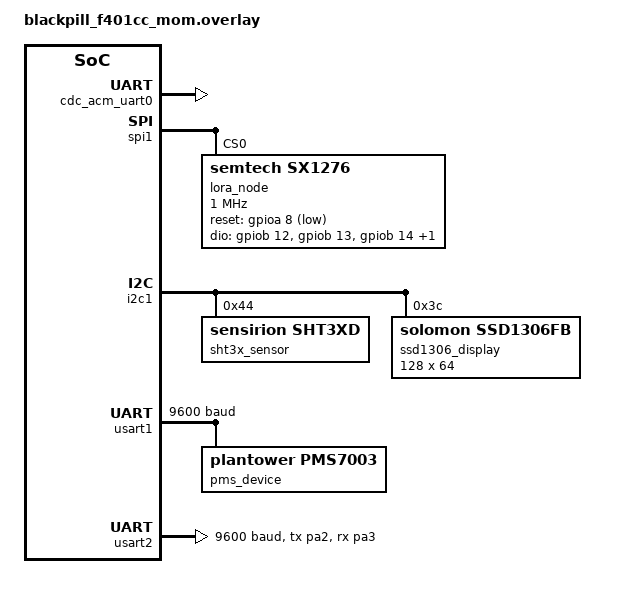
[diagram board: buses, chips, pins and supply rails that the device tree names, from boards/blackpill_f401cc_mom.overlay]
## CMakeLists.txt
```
# SPDX-License-Identifier: Apache-2.0

cmake_minimum_required(VERSION 3.20.0)

find_package(Zephyr REQUIRED HINTS $ENV{ZEPHYR_BASE})
project(lora_sensor)

FILE(GLOB app_sources src/*.c)
target_sources(app PRIVATE ${app_sources})

target_sources(app PRIVATE 
    src/drivers/sensors/pms.c
    src/drivers/sensors/cm1106.c
    src/drivers/sensors/sht3x.c
    src/drivers/sensors/scd4x.c
    src/drivers/sensors/bme280.c
    src/drivers/sensors/sps30.c

    src/drivers/cayenne_lpp.c
)
target_include_directories(app PRIVATE
    src/drivers/
    src/drivers/sensors/
    ./src/
)

add_subdirectory(src/lora)
target_link_libraries(app PRIVATE loramac)
```

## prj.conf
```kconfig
CONFIG_MAIN_STACK_SIZE=4096
CONFIG_SYSTEM_WORKQUEUE_STACK_SIZE=16384

CONFIG_HWINFO=y

CONFIG_LORA=y
CONFIG_LORA_LOG_LEVEL_INF=y
# CONFIG_LORAWAN=y
# CONFIG_LORAMAC_REGION_EU433=y
# CONFIG_LORAWAN_NVM_SETTINGS=y
# CONFIG_LORAWAN_SYSTEM_MAX_RX_ERROR=100

# CONFIG_LORAWAN_LOG_LEVEL_DBG=n
# CONFIG_LORAWAN_SERVICES=y
# CONFIG_LORAWAN_SERVICES_LOG_LEVEL_DBG=y
# CONFIG_LORAWAN_APP_CLOCK_SYNC=y
# CONFIG_LORAWAN_REMOTE_MULTICAST=y
# CONFIG_LORAWAN_FRAG_TRANSPORT=y
# CONFIG_LORAWAN_FRAG_TRANSPORT_MIN_FRAG_SIZE=216
# CONFIG_LORAWAN_FRAG_TRANSPORT_MAX_FRAG_SIZE=216
# CONFIG_LORAWAN_FRAG_TRANSPORT_DECODER_LOWMEM=y

CONFIG_SERIAL=y

CONFIG_UART_CONSOLE=y
CONFIG_UART_INTERRUPT_DRIVEN=y

CONFIG_CONSOLE=y
CONFIG_STDOUT_CONSOLE=y

CONFIG_LOG=y
CONFIG_LOG_PRINTK=y
CONFIG_LOG_MODE_IMMEDIATE=y

# CONFIG_PM=y
# CONFIG_PM_DEVICE=y
# CONFIG_PM_DEVICE_RUNTIME=y

CONFIG_SENSOR=y

CONFIG_NVS=y
CONFIG_SETTINGS=y
CONFIG_FLASH=y
CONFIG_FLASH_MAP=y
CONFIG_FLASH_PAGE_LAYOUT=y
CONFIG_STREAM_FLASH=y
CONFIG_IMG_MANAGER=y

CONFIG_LED=n
CONFIG_LED_LOG_LEVEL_DBG=y

CONFIG_WATCHDOG=y
CONFIG_WDT_DISABLE_AT_BOOT=y

CONFIG_I2C=y
CONFIG_I2C_SHELL=y

CONFIG_SHELL=y

CONFIG_REGULATOR=y

# CONFIG_LVGL=y
# CONFIG_LV_USE_LABEL=y
# CONFIG_LV_FONT_MONTSERRAT_26=y
# CONFIG_LV_FONT_MONTSERRAT_22=y
# CONFIG_LV_FONT_SOURCE_HAN_SANS_SC_16_CJK=y
# CONFIG_LV_COLOR_16_SWAP=y
# CONFIG_LV_Z_MEM_POOL_SIZE=32384
# CONFIG_LV_Z_SHELL=y
# CONFIG_DISPLAY=y
# CONFIG_DISPLAY_LOG_LEVEL_ERR=y
# CONFIG_INPUT=y

# CONFIG_DISPLAY=y
# CONFIG_CFB_LOG_LEVEL_DBG=y
# CONFIG_CHARACTER_FRAMEBUFFER=y
# CONFIG_CBPRINTF_FP_SUPPORT=y

CONFIG_LED=y
```

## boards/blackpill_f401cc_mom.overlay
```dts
/ {
    chosen {
		zephyr,shell-uart = &cdc_acm_uart0;
        zephyr,console = &cdc_acm_uart0;
        zephyr,code-partition = &slot0_partition;
	};

};

&zephyr_udc0 {
	cdc_acm_uart0: cdc_acm_uart0 {
		compatible = "zephyr,cdc-acm-uart";
	};
};

&spi1 {
    lora: lora@0 {
        compatible = "semtech,sx1276";
        reg = <0>;
        reset-gpios = <&gpioa 8 GPIO_ACTIVE_LOW>;
        dio-gpios = 
            <&gpiob 12 (GPIO_PULL_DOWN | GPIO_ACTIVE_HIGH)>,
            <&gpiob 13 (GPIO_PULL_DOWN | GPIO_ACTIVE_HIGH)>,
            <&gpiob 14 (GPIO_PULL_DOWN | GPIO_ACTIVE_HIGH)>,
            <&gpiob 15 (GPIO_PULL_DOWN | GPIO_ACTIVE_HIGH)>;
        spi-max-frequency = <1000000>;
        power-amplifier-output = "pa-boost";
        label = "lora_node";
    };
};

&i2c1 {
	sht3x: sht3xd@44 {
		compatible = "sensirion,sht3xd";
		reg = <0x44>;
        label = "sht3x_sensor";
	};
    ssd1306_ssd1306_128x64: ssd1306@3c {
        compatible = "solomon,ssd1306fb";
        reg = <0x3c>;
        width = <128>;
        height = <64>;
        segment-offset = <0>;
        page-offset = <0>;
        display-offset = <0>;
        multiplex-ratio = <63>;
        segment-remap;
        com-invdir;
        prechargep = <0x22>;
        label = "ssd1306_display";
	};
};

&usart1 {
	current-speed = <9600>;
    pmsensor: pmsensor {
        compatible = "plantower,pms7003";
        label = "pms_device";
    };
};

&usart2 {
    current-speed = <9600>;
    status = "okay";
    pinctrl-0 = <&usart2_tx_pa2 &usart2_rx_pa3>;
	pinctrl-names = "default";
    label = "cm1106_co2";
};
```

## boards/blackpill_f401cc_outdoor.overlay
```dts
/ {
    chosen {
		zephyr,shell-uart = &cdc_acm_uart0;
        zephyr,console = &cdc_acm_uart0;
	};
    aliases {

    };
};

&zephyr_udc0 {
	cdc_acm_uart0: cdc_acm_uart0 {
		compatible = "zephyr,cdc-acm-uart";
	};
};

&spi1 {
    lora: lora@0 {
        compatible = "semtech,sx1276";
        reg = <0>;
        reset-gpios = <&gpioa 8 GPIO_ACTIVE_LOW>;
        dio-gpios = 
            <&gpiob 13 (GPIO_PULL_DOWN | GPIO_ACTIVE_HIGH)>,
            <&gpiob 12 (GPIO_PULL_DOWN | GPIO_ACTIVE_HIGH)>,
            <&gpiob 15 (GPIO_PULL_DOWN | GPIO_ACTIVE_HIGH)>;
        spi-max-frequency = <1000000>;
        power-amplifier-output = "pa-boost";
        label = "lora_node";
    };
};

&i2c1 {
    pinctrl-0 = <&i2c1_scl_pb6 &i2c1_sda_pb7>;
	sht3x: sht3xd@44 {
		compatible = "sensirion,sht3xd";
		reg = <0x44>;
        label = "sht3x_sensor";
	};
};

&usart2 {
    current-speed = <9600>;
    status = "okay";
    pinctrl-0 = <&usart2_tx_pa2 &usart2_rx_pa3>;
	pinctrl-names = "default";
    pmsensor: pmsensor {
        compatible = "plantower,pms7003";
        label = "pms_device";
    };
};
```

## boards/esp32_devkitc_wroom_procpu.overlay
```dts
/ {
	chosen {
		zephyr,display = &st7735;
    };

	aliases {
		cm1106-uart = &uart1;
        pms-uart = &uart2;
        lora-radio = &lora;
		lcd-display = &st7735;
	};

	mipi_dbi_st7735r_ada_160x128 {
		compatible = "zephyr,mipi-dbi-spi";
		spi-dev = <&spi2>;
		dc-gpios = <&gpio0 18 GPIO_ACTIVE_HIGH>;	/* D9 */
		reset-gpios = <&gpio0 19 GPIO_ACTIVE_LOW>;	/* D8 */
		#address-cells = <1>;
		#size-cells = <0>;
		
		st7735: st7735r@0 {
			compatible = "sitronix,st7735r";
			mipi-max-frequency = <DT_FREQ_M(1)>;
			mipi-mode = "MIPI_DBI_MODE_SPI_4WIRE";
			reg = <0>;
			width = <128>;
			height = <160>;
			x-offset = <0>;
			y-offset = <0>;
			madctl = <0xc0>;
			colmod = <0x55>;
			vmctr1 = <0x0e>;
			pwctr1 = [a2 02 84];
			pwctr2 = [c5];
			pwctr3 = [0a 00];
			pwctr4 = [8a 2a];
			pwctr5 = [8a ee];
			frmctr1 = [01 2c 2d];
			frmctr2 = [01 2c 2d];
			frmctr3 = [01 2c 2d 01 2c 2d];
			gamctrp1 = [02 1c 07 12 37 32 29 2d 29 25 2b 39 00 01 03 10];
			gamctrn1 = [03 1d 07 06 2e 2c 29 2d 2e 2e 37 3f 00 00 02 10];
		};
	};
};

&uart1 {
    status = "okay";
	current-speed = <9600>;
	pinctrl-0 = <&uart1_default>;
	pinctrl-names = "default";
};

&uart2 {
    status = "okay";
	current-speed = <9600>;
	pinctrl-0 = <&uart2_default>;
	pinctrl-names = "default";
};

&spi2 {
	clock-frequency = <DT_FREQ_M(8)>;
	#address-cells = <1>;
	#size-cells = <0>;
	status = "okay";
	pinctrl-0 = <&spim2_default>;
	pinctrl-names = "default";
    cs-gpios = <&gpio0 4  GPIO_ACTIVE_LOW>,
			   <&gpio0 23 GPIO_ACTIVE_LOW>;

	lora: lora@1 {
		compatible = "semtech,sx1276";
		reg = <1>;
		spi-max-frequency = <DT_FREQ_M(8)>;
		reset-gpios = <&gpio0 21 GPIO_ACTIVE_LOW>;
		dio-gpios = <&gpio0 22 (GPIO_PULL_DOWN | GPIO_ACTIVE_HIGH)>;
        power-amplifier-output = "pa-boost";
	};

};

&pinctrl {
	uart1_default: uart1_default {
		group1 {
			pinmux = <UART1_TX_GPIO17>;
		};
		group2 {
			pinmux = <UART1_RX_GPIO16>;
			bias-pull-up;
		};
	};

	uart2_default: uart2_default {
		group1 {
			pinmux = <UART2_TX_GPIO14>;
		};
		group2 {
			pinmux = <UART2_RX_GPIO13>;
			bias-pull-up;
		};
	};

    spim2_default: spim2_default {
		group1 {
			pinmux = <SPIM2_MISO_GPIO27>,
				 <SPIM2_SCLK_GPIO26>;

		};
		group2 {
			pinmux = <SPIM2_MOSI_GPIO25>;
			output-low;
		};
	};
};
```

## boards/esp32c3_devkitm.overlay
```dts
/ {
	chosen {
		zephyr,console = &usb_serial;
		zephyr,shell-uart = &usb_serial;
		zephyr,display = &ssd1306_ssd1306_128x64;
	};

	aliases {
        scd4x = &scd40;
        display = &ssd1306_ssd1306_128x64;
        bme280 = &bme280;
		pms-uart = &uart0;
	};

    sensor_regulator: sensor_regulator {
        compatible = "regulator-fixed";
        regulator-name = "sensor_regulator";
        enable-gpios = <&gpio0 6 GPIO_ACTIVE_HIGH>;
        regulator-boot-on;
    };
};

&usb_serial {
	/* requires resoldering of resistors on the board */
	status = "okay";
};

&uart0 {
	status = "okay";
	current-speed = <9600>;
	pinctrl-0 = <&uart0_default>;
	pinctrl-names = "default";
};

&uart0_default {
	group1 {
		pinmux = <UART0_TX_GPIO1>;
		output-high;
	};
	group2 {
		pinmux = <UART0_RX_GPIO0>;
	};
};

&i2c0 {
	status = "okay";
	clock-frequency = <I2C_BITRATE_FAST>;

    ssd1306_ssd1306_128x64: ssd1306@3c {
		ready-time-ms = <500>;
		status = "okay";
		compatible = "solomon,ssd1306fb";
		reg = <0x3c>;
		width = <128>;
		height = <64>;
		segment-offset = <0>;
		page-offset = <0>;
		display-offset = <0>;
		multiplex-ratio = <63>;
		segment-remap;
		com-invdir;
		prechargep = <0x22>;
	};

	scd40: scd40@62 {
        status = "okay";
        reg = <0x62>;
		mode = <1>;
        compatible = "sensirion,scd41";
    };

    bme280: bme280@76 {
		compatible = "bosch,bme280";
		reg = <0x76>;
	};
};

&i2c0_default {
    group1 {
        pinmux = <I2C0_SDA_GPIO4>,
                <I2C0_SCL_GPIO5>;
        drive-open-drain;
        output-high;
    };
};
```

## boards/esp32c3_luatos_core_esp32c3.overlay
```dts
/ {
    chosen {
		zephyr,code-partition = &slot0_partition;
    };

    aliases {
        lora0 = &sx1262;
		systemled = &led0;
		sht3x = &sht3x;
	};

	leds {
		compatible = "gpio-leds";

		led0: led_2 {
			gpios = <&gpio0 12 GPIO_ACTIVE_HIGH>;
			label = "White LED";
		};

		led1: led_1 {
			gpios = <&gpio0 13 GPIO_ACTIVE_HIGH>;
			label = "Green LED";
		};
	};
};

&wdt1 {
	status = "okay";                     /* in zephyr/dts/riscv/espressif/esp32c3/esp32c3_common.dtsi:303 */
};

&i2c0_default {
	group1 {
		pinmux = <I2C0_SDA_GPIO2>,
				<I2C0_SCL_GPIO0>;
		bias-pull-up;
		drive-open-drain;
		output-high;
	};
};

&i2c0 {
	status = "okay";
	clock-frequency = <I2C_BITRATE_STANDARD>;
	pinctrl-0 = <&i2c0_default>;
	pinctrl-names = "default";

	sht3x: sht3xd@44 {
		compatible = "sensirion,sht3xd";
		reg = <0x44>;
	};
};

&uart0 {
	status = "okay";
	current-speed = <115200>;
	pinctrl-0 = <&uart0_default>;
	pinctrl-names = "default";
};

&spim2_default {
    group1 {
        pinmux = <SPIM2_MISO_GPIO6>,
            <SPIM2_SCLK_GPIO10>;
    };
    group2 {
        pinmux = <SPIM2_MOSI_GPIO7>;
        output-low;
    };
};

&spi2 {
	#address-cells = <1>;
	#size-cells = <0>;
	status = "okay";
	pinctrl-0 = <&spim2_default>;
	pinctrl-names = "default";
    cs-gpios = <&gpio0 8 GPIO_ACTIVE_LOW>;
    clock-frequency = <DT_FREQ_M(8)>;

	sx1262: sx1262@0 {
		compatible = "semtech,sx1262";
		reg = <0>;
		spi-max-frequency = <DT_FREQ_M(8)>;
		label = "SX1262";
		reset-gpios = <&gpio0 5 GPIO_ACTIVE_LOW>;
		busy-gpios = <&gpio0 4 GPIO_ACTIVE_HIGH>;
		dio1-gpios = <&gpio0 3 GPIO_ACTIVE_HIGH>;
		dio2-tx-enable;
	};
};

&flash0 {
	partitions {
		compatible = "fixed-partitions";
		#address-cells = <1>;
		#size-cells = <1>;

		boot_partition: partition@0 {
			label = "mcuboot";
			reg = <0x0 DT_SIZE_K(64)>;
		};

		sys_partition: partition@10000 {
			label = "sys";
			reg = <0x10000 DT_SIZE_K(64)>;
		};

		slot0_partition: partition@20000 {
			label = "image-0";
			reg = <0x20000 DT_SIZE_K(256)>;
		};

		slot1_partition: partition@1e0000 {
			label = "image-1";
			reg = <0x1E0000 DT_SIZE_K(256)>;
		};

		slot0_lpcore_partition: partition@3a0000 {
			label = "image-0-lpcore";
			reg = <0x3A0000 DT_SIZE_K(32)>;
		};

		slot1_lpcore_partition: partition@3a8000 {
			label = "image-1-lpcore";
			reg = <0x3A8000 DT_SIZE_K(32)>;
		};

		storage_partition: partition@3b0000 {
			label = "storage";
			reg = <0x3B0000 DT_SIZE_K(192)>;
		};

		scratch_partition: partition@3e0000 {
			label = "image-scratch";
			reg = <0x3E0000 DT_SIZE_K(124)>;
		};

		coredump_partition: partition@3ff000 {
			label = "coredump";
			reg = <0x3FF000 DT_SIZE_K(4)>;
		};
	};
};
```

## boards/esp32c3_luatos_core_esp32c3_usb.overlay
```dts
/ {
    choose {
    };

    aliases {
        pms-uart = &uart0;
        lora0 = &lora;
		systemled = &led0;
		scd4x = &scd40;
		bme280 = &bme280;
	};

	leds {
		compatible = "gpio-leds";

		led0: led_2 {
			gpios = <&gpio0 12 GPIO_ACTIVE_HIGH>;
			label = "White LED";
		};

		led1: led_1 {
			gpios = <&gpio0 13 GPIO_ACTIVE_HIGH>;
			label = "Green LED";
		};
	};
};

&i2c0_default {
	group1 {
		pinmux = <I2C0_SDA_GPIO1>,
				<I2C0_SCL_GPIO0>;
		bias-pull-up;
		drive-open-drain;
		output-high;
	};
};

&i2c0 {
	status = "okay";
	clock-frequency = <I2C_BITRATE_STANDARD>;
	pinctrl-0 = <&i2c0_default>;
	pinctrl-names = "default";

	scd40: scd40@62 {
        status = "okay";
        reg = <0x62>;
		mode = <1>;
        compatible = "sensirion,scd41";
    };

	bme280: bme280@76 {
		compatible = "bosch,bme280";
		reg = <0x76>;
	};
};

&uart0 {
	status = "okay";
	current-speed = <9600>;
	pinctrl-0 = <&uart0_default>;
	pinctrl-names = "default";
};

&uart0_default {
		group1 {
			pinmux = <UART0_TX_GPIO5>;
			output-high;
		};
		group2 {
			pinmux = <UART0_RX_GPIO4>;
			bias-pull-up;
		};
};

&spim2_default {
    group1 {
        pinmux = <SPIM2_MISO_GPIO3>,
            <SPIM2_SCLK_GPIO7>;
    };
    group2 {
        pinmux = <SPIM2_MOSI_GPIO10>;
        output-low;
    };
};

&spi2 {
	#address-cells = <1>;
	#size-cells = <0>;
	status = "okay";
	pinctrl-0 = <&spim2_default>;
	pinctrl-names = "default";
    cs-gpios = <&gpio0 6 GPIO_ACTIVE_LOW>;
    clock-frequency = <DT_FREQ_M(1)>;

    lora: lora@0 {
		compatible = "semtech,sx1276";
		reg = <0x0>;
		spi-max-frequency = <DT_FREQ_M(2)>;
		reset-gpios = <&gpio0 11 GPIO_ACTIVE_LOW>;
		dio-gpios = <&gpio0 2 (GPIO_PULL_DOWN | GPIO_ACTIVE_HIGH)>;
        power-amplifier-output = "pa-boost";
	};
};
```

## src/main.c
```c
#include <zephyr/kernel.h>
#include <zephyr/logging/log.h>
#include <zephyr/drivers/hwinfo.h>
#include "sps30.h"
#include "scd4x.h"
#include "pms.h"
#include "sht3x.h"
#include "scd4x.h"
#include "lora.h"
#include "cayenne_lpp.h"

LOG_MODULE_REGISTER(MAIN, LOG_LEVEL_DBG);

LoRaConfig_t config;
LoRadata_t lora_data;

cayenne_lpp_t lpp = {0};
static float pm1, pm25, pm10;
sps30data_t sps30_data;
scd4x_data_t scd4x_data;
pms_data_t pms_data;
sht3x_data_t sht3x_data;

int main(void)
{
	lora_init();
	if (hwinfo_get_device_eui64(config.deveui) == 0)
	{
		memset(config.appkey, 0, 16);
		memcpy(config.appkey, config.deveui, 8);
	}
	else
	{
		hwinfo_get_device_id(config.appkey, 16);
		memcpy(config.deveui, config.appkey, 8);
	}
	config.join_dr = 3;
	config.adr = 1;
	LOG_HEXDUMP_DBG(config.deveui, 8, "DEVEUI");
	LOG_HEXDUMP_DBG(config.appkey, 16, "APPKEY");

	while (lora_join_network(&config) != 0)
	{
		k_msleep(6000);
	}

	while (1)
	{
		k_msleep(60 * 1000);

		cayenne_lpp_reset(&lpp);
		if (0 == sps30_get_data(&sps30_data))
		{
			pm1 = sps30_data.pm1 / 100.0f;
			pm25 = sps30_data.pm25 / 100.0f;
			pm10 = sps30_data.pm10 / 100.0f;
			cayenne_lpp_add_analog_output(&lpp, 0, pm1);
			cayenne_lpp_add_analog_output(&lpp, 1, pm25);
			cayenne_lpp_add_analog_output(&lpp, 2, pm10);
		}

		if (0 == pms_get(&pms_data))
		{
			pm1 = pms_data.pm1 / 100.0f;
			pm25 = pms_data.pm25 / 100.0f;
			pm10 = pms_data.pm10 / 100.0f;
			cayenne_lpp_add_analog_output(&lpp, 0, pm1);
			cayenne_lpp_add_analog_output(&lpp, 1, pm25);
			cayenne_lpp_add_analog_output(&lpp, 2, pm10);
		}

		if (get_scd4x_data(&scd4x_data) == 0)
		{
			cayenne_lpp_add_analog_output(&lpp, 3, scd4x_data.co2 / 100.0f);
			cayenne_lpp_add_temperature(&lpp, 0, scd4x_data.temp);
			cayenne_lpp_add_relative_humidity(&lpp, 0, scd4x_data.hum);
		}

		if (sht3x_get_temp_hum(&sht3x_data) == 0)
		{
			cayenne_lpp_add_temperature(&lpp, 0, sht3x_data.temp);
			cayenne_lpp_add_relative_humidity(&lpp, 0, sht3x_data.hum);
		}

		lora_data.data_len = lpp.cursor;
		lora_data.port = 1;
		lora_data.is_confirmed = 0;
		memcpy(lora_data.data, lpp.buffer, lpp.cursor);
		lora_send_data(&lora_data);
		k_msleep(6000);
		if (0 == lora_get_downlink(&lora_data))
		{
			LOG_INF("Process downlink");
			if (lora_data.port == 62 && lora_data.data_len == 4)
			{
				LOG_DBG("Calibrate SCD4x");
				float actual_temp;
				memcpy(&actual_temp, lora_data.data, 4);
				LOG_DBG("Actual Temp: %i", (int)(actual_temp * 10));
				set_scd4x_offset(actual_temp);
			}
		}
	}

	return 0;
}
```

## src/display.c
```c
#include "display.h"
#include "scd4x.h"
#include "sps30.h"
#include "pms.h"
#include <stdio.h>

#include <zephyr/device.h>
#include <zephyr/devicetree.h>
#include <zephyr/drivers/display.h>
#include <zephyr/kernel.h>
#include <zephyr/logging/log.h>
#include <zephyr/display/cfb.h>
#include <zephyr/drivers/led.h>
#include <zephyr/input/input.h>

LOG_MODULE_REGISTER(display, LOG_LEVEL_DBG);

#if defined(CONFIG_LVGL)

#include <lvgl.h>

const struct led_dt_spec displayled_spec = LED_DT_SPEC_GET(DT_NODELABEL(displayled));
lv_timer_t *led_timer;

lv_obj_t *tile_view;
lv_obj_t *sensor_tile;
lv_obj_t *setting_tile;

lv_obj_t *co2_container;
lv_obj_t *co2_label;
lv_obj_t *pm_container;
lv_obj_t *pm_label;
lv_obj_t *temp_container;
lv_obj_t *temp_label;
lv_obj_t *hum_container;
lv_obj_t *hum_label;

lv_obj_t *wifi_container;
lv_obj_t *wifi_label;

lv_obj_t *lora_container;
lv_obj_t *lora_label;

static scd4x_data_t scd4x_data;
static sps30data_t sps30_data;

void lv_timer(lv_timer_t *timer)
{
	char str[50];
	lv_color_t color = lv_color_hex(0x44ce1b);

	if (0 == get_scd4x_data(&scd4x_data))
	{
		sprintf(str, "CO2\n%i", scd4x_data.co2);
		lv_label_set_text(co2_label, str);
		if (scd4x_data.co2 <= 800)
		{
			color = lv_color_hex(0x44ce1b);
		}
		if (scd4x_data.co2 > 800 && scd4x_data.co2 <= 1200)
		{
			color = lv_color_hex(0xf7e379);
		}
		if (scd4x_data.co2 > 1200)
		{
			color = lv_color_hex(0xe51f1f);
		}
		lv_obj_set_style_bg_color(co2_container, color, LV_PART_MAIN);

		if (scd4x_data.co2 != 0)
		{
			// lv_chart_set_next_value(co2_chart, co2_ser, (int32_t)scd4x_data.co2);

			sprintf(str, "%i.%i°C", (int)scd4x_data.temp, (int)((scd4x_data.temp - (int)scd4x_data.temp) * 10));
			lv_label_set_text(temp_label, str);

			sprintf(str, "%i.%i%%", (int)scd4x_data.hum, (int)((scd4x_data.hum - (int)scd4x_data.hum) * 10));
			lv_label_set_text(hum_label, str);
		}
	}

	if (0 == sps30_get_data(&sps30_data))
	{
		sprintf(str, "PM2.5\n%i\n%i\n%i", (int)sps30_data.pm1, (int)sps30_data.pm25, (int)sps30_data.pm10);
		lv_label_set_text(pm_label, str);

		if (sps30_data.pm25 <= 15)
		{
			color = lv_color_hex(0x44ce1b);
		}
		if (sps30_data.pm25 > 15 && sps30_data.pm25 <= 35)
		{
			color = lv_color_hex(0xf7e379);
		}
		if (sps30_data.pm25 > 35)
		{
			color = lv_color_hex(0xe51f1f);
		}
		lv_obj_set_style_bg_color(pm_container, color, LV_PART_MAIN);
	}
}

void lv_sensor_page()
{
	sensor_tile = lv_tileview_add_tile(tile_view, 0, 0, LV_DIR_RIGHT);

	static lv_style_t sensor_title_style;
	lv_style_init(&sensor_title_style);
	lv_style_set_width(&sensor_title_style, lv_pct(50));
	lv_style_set_height(&sensor_title_style, lv_pct(50));
	lv_style_set_text_font(&sensor_title_style, &lv_font_montserrat_26);

	co2_container = lv_obj_create(sensor_tile);
	lv_obj_add_style(co2_container, &sensor_title_style, 0);
	lv_obj_set_align(co2_container, LV_ALIGN_TOP_LEFT);
	lv_obj_set_style_pad_all(co2_container, 0, LV_STATE_DEFAULT);

	co2_label = lv_label_create(co2_container);
	lv_obj_set_align(co2_label, LV_ALIGN_CENTER);
	lv_label_set_text(co2_label, "CO2\n1233");

	pm_container = lv_obj_create(sensor_tile);
	lv_obj_add_style(pm_container, &sensor_title_style, 0);
	lv_obj_set_align(pm_container, LV_ALIGN_TOP_RIGHT);
	pm_label = lv_label_create(pm_container);
	lv_obj_set_align(pm_label, LV_ALIGN_CENTER);

	static lv_style_t pm_label_style;
	lv_style_init(&pm_label_style);
	lv_style_set_text_font(&pm_label_style, &lv_font_montserrat_22);
	// lv_style_set_text_align(&pm_label_style,LV_TEXT_ALIGN_CENTER);
	lv_obj_add_style(pm_label, &pm_label_style, 0);

	temp_container = lv_obj_create(sensor_tile);
	lv_obj_add_style(temp_container, &sensor_title_style, 0);
	lv_obj_set_align(temp_container, LV_ALIGN_BOTTOM_LEFT);
	temp_label = lv_label_create(temp_container);
	lv_obj_set_align(temp_label, LV_ALIGN_CENTER);
	// lv_label_set_text(temp_label, "Loading");

	hum_container = lv_obj_create(sensor_tile);
	lv_obj_add_style(hum_container, &sensor_title_style, 0);
	lv_obj_set_align(hum_container, LV_ALIGN_BOTTOM_RIGHT);
	hum_label = lv_label_create(hum_container);
	lv_obj_set_align(hum_label, LV_ALIGN_CENTER);
	// lv_label_set_text(hum_label, "Loading");
}

void turn_off_led(lv_timer_t *timer)
{
	led_off_dt(&displayled_spec);
}

void turn_on_led(struct input_event *evt, void *)
{
	led_on_dt(&displayled_spec);
	lv_timer_reset(led_timer);
}

void display_thread(void *, void *, void *)
{
	const struct device *display_dev = DEVICE_DT_GET(DT_CHOSEN(zephyr_display));

	if (!device_is_ready(display_dev))
	{
		LOG_ERR("Device not ready, aborting test");
		return;
	}

	display_blanking_off(display_dev);

	tile_view = lv_tileview_create(lv_screen_active());
	lv_sensor_page();

	lv_timer_t *timer = lv_timer_create(lv_timer, 5000, NULL);

	led_on_dt(&displayled_spec);
	led_timer = lv_timer_create(turn_off_led, 15 * 60 * 1000, NULL);
	INPUT_CALLBACK_DEFINE(NULL, turn_on_led, NULL);

	while (1)
	{
		lv_timer_handler();
		k_sleep(K_MSEC(5));
	}
}

K_THREAD_DEFINE(display_thread_tid, 8912,
				display_thread, NULL, NULL, NULL,
				5, 0, 0);

#endif

#if defined(CONFIG_CHARACTER_FRAMEBUFFER)
void cfb_thread(void *, void *, void *)
{
	const struct device *dev;
	dev = DEVICE_DT_GET(DT_CHOSEN(zephyr_display));
	if (!device_is_ready(dev))
	{
		printf("Device %s not ready\n", dev->name);
		return;
	}

	if (display_set_pixel_format(dev, PIXEL_FORMAT_MONO10) != 0)
	{
		if (display_set_pixel_format(dev, PIXEL_FORMAT_MONO01) != 0)
		{
			printf("Failed to set required pixel format");
			return;
		}
	}
	printf("Initialized %s\n", dev->name);
	if (cfb_framebuffer_init(dev))
	{
		printf("Framebuffer initialization failed!\n");
		return;
	}

	cfb_framebuffer_clear(dev, true);
	display_blanking_off(dev);
	cfb_framebuffer_invert(dev);
	cfb_set_kerning(dev, 1);

	int font_number = cfb_get_numof_fonts(dev);

	scd4x_data_t scd4x_data;
	pms_data_t pms_data;
	char str[100];
	while (1)
	{
		cfb_framebuffer_clear(dev, true);
		if (0 == get_scd4x_data(&scd4x_data))
		{
			sprintf(str, "%i", scd4x_data.co2);
			cfb_framebuffer_set_font(dev, font_number - 1);
			cfb_draw_text(dev, str, 0, 0);

			sprintf(str, "%.1fC", scd4x_data.temp);
			cfb_framebuffer_set_font(dev, font_number - 2);
			cfb_draw_text(dev, str, 0, 25);

			sprintf(str, "%.1f%%", scd4x_data.hum);
			cfb_framebuffer_set_font(dev, font_number - 2);
			cfb_draw_text(dev, str, 0, 45);
		}
		if (0 == pms_get(&pms_data))
		{
			sprintf(str, "%i", pms_data.pm1);
			cfb_framebuffer_set_font(dev, font_number - 2);
			cfb_draw_text(dev, str, 90, 0);

			sprintf(str, "%i", pms_data.pm25);
			cfb_framebuffer_set_font(dev, font_number - 2);
			cfb_draw_text(dev, str, 90, 22);

			sprintf(str, "%i", pms_data.pm10);
			cfb_framebuffer_set_font(dev, font_number - 2);
			cfb_draw_text(dev, str, 90, 44);
		}

		cfb_framebuffer_finalize(dev);
		k_msleep(5000);
	}
}

K_THREAD_DEFINE(cfb_thread_tid, 8912,
				cfb_thread, NULL, NULL, NULL,
				5, 0, 0);

#endif
```

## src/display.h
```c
#ifndef __DISPLAY__H
#define __DISPLAY__H




#endif
```

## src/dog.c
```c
#include "dog.h"

#include <zephyr/kernel.h>
#include <zephyr/device.h>
#include <zephyr/drivers/watchdog.h>
#include <zephyr/sys/printk.h>
#include <stdbool.h>

#define WDT_FEED_TRIES 5

static uint8_t dog_run = 0;

void dog_stop()
{
    dog_run = 1;
}

void dog_thread(void *, void *, void *)
{
    int err;
    int wdt_channel_id;
    const struct device *const wdt = DEVICE_DT_GET(DT_ALIAS(watchdog0));

    printk("Watchdog sample application\n");

    if (!device_is_ready(wdt))
    {
        printk("%s: device not ready.\n", wdt->name);
        return ;
    }

    struct wdt_timeout_cfg wdt_config = {
        /* Reset SoC when watchdog timer expires. */
        .flags = WDT_FLAG_RESET_SOC,

        /* Expire watchdog after max window */
        .window.min = 0,
        .window.max = 30000,
    };

    wdt_channel_id = wdt_install_timeout(wdt, &wdt_config);
    if (wdt_channel_id == -ENOTSUP)
    {
        /* IWDG driver for STM32 doesn't support callback */
        printk("Callback support rejected, continuing anyway\n");
        wdt_config.callback = NULL;
        wdt_channel_id = wdt_install_timeout(wdt, &wdt_config);
    }
    if (wdt_channel_id < 0)
    {
        printk("Watchdog install error\n");
        return;
    }

    err = wdt_setup(wdt, 0);
    if (err < 0)
    {
        printk("Watchdog setup error\n");
        return ;
    }

    while (1)
    {
        if (dog_run == 0)
        {
            // printk("Feeding watchdog...\n");
            wdt_feed(wdt, wdt_channel_id);
        }

        k_sleep(K_MSEC(15000));
    }
}

K_THREAD_DEFINE(dog_tid, 2000,
                dog_thread, NULL, NULL, NULL,
                5, 0, 0);
```

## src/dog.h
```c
#ifndef __DOG_H__
#define __DOG_H__

void dog_start();
void dog_stop();

#endif
```

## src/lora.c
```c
#include <stdio.h>
#include <string.h>
#include <zephyr/drivers/hwinfo.h>
#include <zephyr/logging/log.h>
#include <zephyr/lorawan/lorawan.h>
#include "lora.h"
#include "autoconf.h"
#include <stdint.h>
#include "led.h"

LOG_MODULE_REGISTER(LORA, LOG_LEVEL_DBG);

const struct device *lora_dev;
struct lorawan_join_config join_cfg;
uint8_t dev_eui[8];
uint8_t join_eui[8];
uint8_t app_key[16];
static int ret;

int lora_join()
{
    if (hwinfo_get_device_eui64(dev_eui) == 0)
    {
        memcpy(app_key, dev_eui, 8);
    }
    else
    {
        hwinfo_get_device_id(app_key, 16);
        memcpy(dev_eui, app_key, 8);
    }

    LOG_HEXDUMP_DBG(dev_eui, 8, "DEVEUI");
    LOG_HEXDUMP_DBG(app_key, 16, "APPKEY");

    join_cfg.mode = LORAWAN_ACT_OTAA;
    join_cfg.dev_eui = dev_eui;
    join_cfg.otaa.join_eui = join_eui;
    join_cfg.otaa.app_key = app_key;
    join_cfg.otaa.nwk_key = app_key;
    join_cfg.otaa.dev_nonce = 0u;

    lorawan_set_datarate(LORAWAN_DR_3);

    LOG_INF("Joining network over OTAA");
    ret = lorawan_join(&join_cfg);
    if (ret == 0)
    {
        lorawan_enable_adr(true);
    }
    return ret;
}

static void dl_callback(uint8_t port, uint8_t flags, int16_t rssi, int8_t snr, uint8_t len,
                        const uint8_t *hex_data)
{
    LOG_INF("Port %d, Pending %d, RSSI %ddB, SNR %ddBm, Time %d", port,
            flags & LORAWAN_DATA_PENDING, rssi, snr, !!(flags & LORAWAN_TIME_UPDATED));
    if (hex_data)
    {
        LOG_HEXDUMP_INF(hex_data, len, "Payload: ");
    }
}
struct lorawan_downlink_cb downlink_cb = {
    .port = LW_RECV_PORT_ANY,
    .cb = dl_callback};

int lora_init()
{
    lora_dev = DEVICE_DT_GET(DT_ALIAS(lora0));
    if (!device_is_ready(lora_dev))
    {
        LOG_ERR("%s: device not ready.", lora_dev->name);
        return -1;
    }
    ret = lorawan_start();
    if (ret < 0)
    {
        LOG_ERR("lorawan_start failed: %d", ret);
        return -1;
    }

    lorawan_register_downlink_callback(&downlink_cb);
    return ret;
}

int lora_send(uint8_t port, uint8_t *buffer, uint8_t len)
{
    ret = lorawan_send(port, buffer, len, LORAWAN_MSG_UNCONFIRMED);
    return ret;
}
```

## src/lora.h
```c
#ifndef H_LORA_
#define H_LORA_

int lora_init();
int lora_join();
int lora_send(uint8_t port, uint8_t *buffer, uint8_t len);

#endif
```
